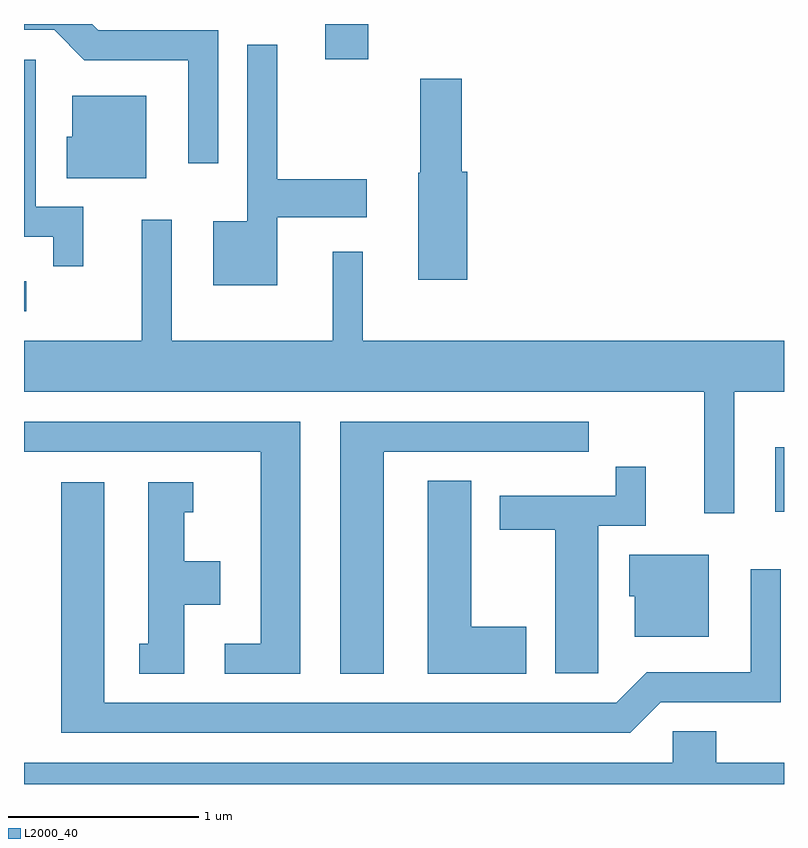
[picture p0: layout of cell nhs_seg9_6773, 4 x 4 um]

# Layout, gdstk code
import gdstk
lib = gdstk.Library(unit=1e-6, precision=1e-09)
def R(c, l, rs):  # rectangles x0, y0, x1, y1
    for r in rs: c.add(gdstk.rectangle(r[:2], r[2:], *l))
def P(c, l, *ps):  # polygons
    for p in ps: c.add(gdstk.Polygon(p, *l))
L2000_40 = (2000, 40)

nhs_seg9_6773 = lib.new_cell('nhs_seg9_6773')
R(nhs_seg9_6773, L2000_40, [(389.566,1977.866,389.611,1978.204), (385.611,1978.921,385.623,1979.079), (387.196,1980.246,387.424,1980.432)])
P(nhs_seg9_6773, L2000_40, [(386.634,1980.399),(386.002,1980.399),(385.969,1980.432),(385.611,1980.432),(385.611,1980.401),(385.769,1980.401),(385.929,1980.241),(386.476,1980.241),(386.476,1979.698),(386.634,1979.698)],
  [(386.944,1979.416),(387.414,1979.416),(387.414,1979.614),(386.944,1979.614),(386.944,1980.323),(386.786,1980.323),(386.786,1979.394),(386.606,1979.394),(386.606,1979.056),(386.944,1979.056)],
  [(385.924,1979.469),(385.674,1979.469),(385.674,1980.244),(385.611,1980.244),(385.611,1979.311),(385.766,1979.311),(385.766,1979.158),(385.924,1979.158)],
  [(387.944,1979.654),(387.914,1979.654),(387.914,1980.144),(387.696,1980.144),(387.696,1979.65),(387.686,1979.65),(387.686,1979.086),(387.944,1979.086)],
  [(386.254,1980.054),(385.866,1980.054),(385.866,1979.839),(385.836,1979.839),(385.836,1979.621),(386.254,1979.621)],
  [(387.236,1979.233),(387.236,1978.764),(386.389,1978.764),(386.389,1979.403),(386.231,1979.403),(386.231,1978.764),(385.611,1978.764),(385.611,1978.496),(389.191,1978.496),(389.191,1977.858),(389.349,1977.858),(389.349,1978.496),(389.611,1978.496),(389.611,1978.764),(387.394,1978.764),(387.394,1979.233)],
  [(387.504,1978.181),(388.583,1978.181),(388.583,1978.339),(387.276,1978.339),(387.276,1977.011),(387.504,1977.011)],
  [(387.064,1978.339),(385.611,1978.339),(385.611,1978.181),(386.856,1978.181),(386.856,1977.169),(386.668,1977.169),(386.668,1977.011),(387.064,1977.011)],
  [(388.634,1977.791),(388.884,1977.791),(388.884,1978.103),(388.726,1978.103),(388.726,1977.949),(388.116,1977.949),(388.116,1977.771),(388.406,1977.771),(388.406,1977.016),(388.634,1977.016)],
  [(388.254,1977.259),(387.964,1977.259),(387.964,1978.029),(387.736,1978.029),(387.736,1977.011),(388.254,1977.011)],
  [(386.454,1977.376),(386.644,1977.376),(386.644,1977.604),(386.454,1977.604),(386.454,1977.861),(386.503,1977.861),(386.503,1978.019),(386.266,1978.019),(386.266,1977.169),(386.218,1977.169),(386.218,1977.011),(386.454,1977.011)],
  [(388.962,1976.861),(389.594,1976.861),(389.594,1977.563),(389.436,1977.563),(389.436,1977.019),(388.889,1977.019),(388.729,1976.859),(386.034,1976.859),(386.034,1978.019),(385.806,1978.019),(385.806,1976.701),(388.802,1976.701)],
  [(389.214,1977.639),(388.796,1977.639),(388.796,1977.421),(388.826,1977.421),(388.826,1977.206),(389.214,1977.206)],
  [(389.611,1976.544),(389.254,1976.544),(389.254,1976.709),(389.026,1976.709),(389.026,1976.544),(385.611,1976.544),(385.611,1976.432),(389.611,1976.432)])

lib.write_gds('nhs_seg9_6773.gds')
